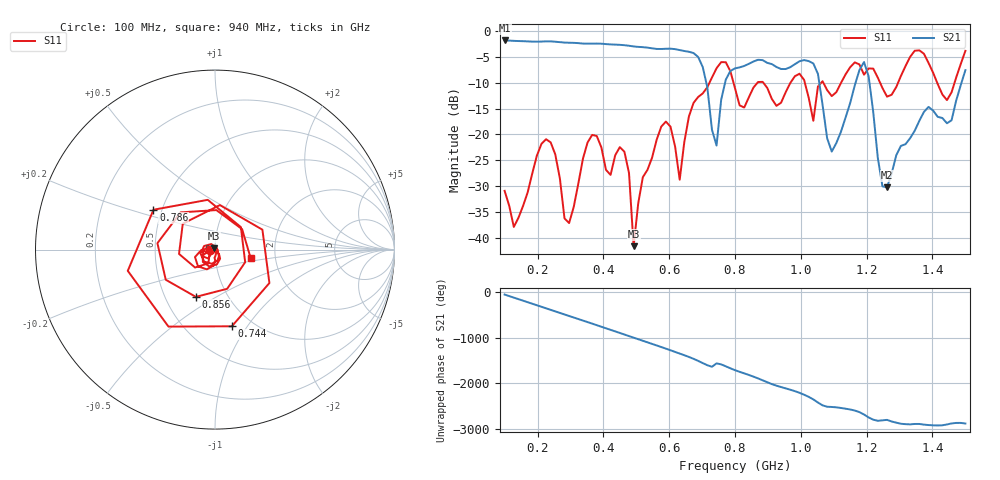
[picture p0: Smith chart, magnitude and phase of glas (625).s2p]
! NanoVNA-App
! Date: 2025-09-25 16:00:20
! Start: 100MHz Stop: 1,5GHz Points: 101
! S-Parameter data: F S11 S21 S12 S22
# Hz S RI R 50
!  Frequency  S11_Real  S11_Imag  S21_Real  S21_Imag  S12_Real  S12_Imag  S22_Real  S22_Imag
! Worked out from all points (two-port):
!   101 points, 100 MHz to 1.5 GHz, reference 50 ohm
!   highest |S21| = -1.80 dB at 100 MHz (marker M1); lowest = -30.2 dB at 1.262 GHz (marker M2)
!   |S21| within 3 dB of the highest: start of sweep to 684.4 MHz
!   lowest |S11| = -41.6 dB at 492 MHz (marker M3), VSWR 1.02, Z = 49.5 + j0.631 ohm
!   |S11| at or under -10 dB: start of sweep to 722.4 MHz; 795.5 MHz to 868.1 MHz (72.57 MHz wide, 8.72 % of centre); 886.2 MHz to 968.3 MHz (82.19 MHz wide, 8.86 % of centre) (the widest 3 of 7)
!   S12 and S22 are empty: the file has one direction only
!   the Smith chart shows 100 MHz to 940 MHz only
!   S11 on the Smith chart (normalised r, x): 100 MHz: 0.95, -0.01; 744 MHz: 0.81, -0.85; 786 MHz: 0.45, +0.24; 856 MHz: 0.71, -0.41; 940 MHz: 1.49, -0.14
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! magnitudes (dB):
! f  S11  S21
! 100 MHz  -30.9  -1.8
! 128 MHz  -37.9  -1.9
! 226 MHz  -20.9  -2.0
! 296 MHz  -37.2  -2.2
! 338 MHz  -24.7  -2.4
! 464 MHz  -23.4  -2.7
! 492 MHz  -41.6  -3.0
! 576 MHz  -18.5  -3.5
! 632 MHz  -28.8  -3.7
! 702 MHz  -12.1  -7.0
! 744 MHz  -7.2  -22.2
! 786 MHz  -7.8  -7.7
! 800 MHz  -11.1  -7.2
! 856 MHz  -10.9  -5.9
! 940 MHz  -13.9  -7.3
! 996 MHz  -8.2  -5.8
! 1.038 GHz  -17.4  -6.3
! 1.094 GHz  -12.6  -23.3
! 1.192 GHz  -8.4  -6.0
! 1.262 GHz  -12.7  -30.2
! 1.276 GHz  -12.3  -27.5
! 1.5 GHz  -3.8  -7.6
